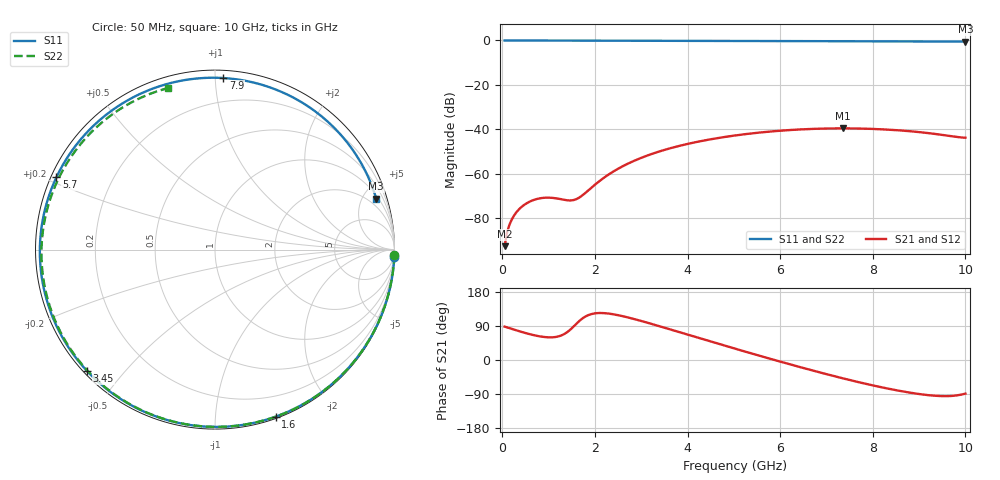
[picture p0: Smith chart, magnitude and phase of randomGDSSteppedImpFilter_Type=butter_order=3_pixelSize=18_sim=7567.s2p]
! freq	dB(S11)	phase(S11)	dB(S12)	phase(S12)
!  dB(S21)	phase(S21)	dB(S22)	phase(S22)
!S-par simulation data
#  GHz  S  DB  R 50
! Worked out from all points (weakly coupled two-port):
!   200 points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, 50 MHz to 10 GHz, reference 50 ohm
!   highest |S21| = -39.58 dB at 7.35 GHz (marker M1); lowest = -92.6 dB at 50 MHz (marker M2)
!   lowest |S11| = -0.5 dB at 10 GHz (marker M3), VSWR 33.42, Z = 61.8 + j312 ohm
!   |S11| at or under -10 dB: nowhere
!   |S22| runs from -0.6 to 0.0 dB; largest |S21 - S12| = 0
!   S11 on the Smith chart (normalised r, x): 50 MHz: 0, -49; 1.6 GHz: 0.01, -1.43; 3.45 GHz: 0.01, -0.40; 5.7 GHz: 0.02, +0.22; 7.9 GHz: 0.05, +1.05; 10 GHz: 1.24, +6.23
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0.05  -0.00 -2.3  -92.63 88.1  -92.63 88.1  -0.00 -1.7
0.2  -0.01 -9.2  -80.80 82.2  -80.80 82.2  -0.01 -6.8
0.45  -0.03 -20.5  -74.38 72.9  -74.38 72.9  -0.02 -15.2
0.75  -0.04 -33.9  -71.37 63.7  -71.37 63.7  -0.03 -25.1
1.2  -0.07 -53.4  -71.22 61.9  -71.22 61.9  -0.05 -39.8
1.45  -0.08 -63.9  -72.05 78.2  -72.05 78.2  -0.06 -47.7
1.6  -0.08 -70.0  -71.44 95.7  -71.44 95.7  -0.07 -52.4
1.75  -0.09 -76.0  -69.42 111.3  -69.42 111.3  -0.07 -57.1
2.15  -0.11 -91.4  -62.50 124.0  -62.50 124.0  -0.08 -69.1
2.5  -0.12 -104.2  -57.77 118.3  -57.77 118.3  -0.10 -79.2
2.9  -0.13 -118.2  -53.71 106.4  -53.71 106.4  -0.11 -90.3
3.4  -0.15 -134.8  -49.92 88.9  -49.92 88.9  -0.13 -103.6
3.45  -0.15 -136.4  -49.60 87.1  -49.60 87.1  -0.13 -104.9
4.25  -0.18 -161.4  -45.48 57.9  -45.48 57.9  -0.16 -124.7
5.05  -0.22 174.7  -42.72 29.0  -42.72 29.0  -0.19 -143.2
5.7  -0.26 155.4  -41.17 6.2  -41.17 6.2  -0.23 -157.6
6.7  -0.31 125.2  -39.82 -27.7  -39.82 -27.7  -0.29 -179.1
7.35  -0.35 104.9  -39.58 -48.2  -39.58 -48.2  -0.34 167.0
7.9  -0.38 87.2  -39.77 -64.3  -39.77 -64.3  -0.38 155.1
8.35  -0.41 72.4  -40.18 -76.1  -40.18 -76.1  -0.42 145.1
9.25  -0.46 42.3  -41.84 -93.4  -41.84 -93.4  -0.49 124.5
10  -0.52 17.6  -43.79 -88.7  -43.79 -88.7  -0.56 106.2
